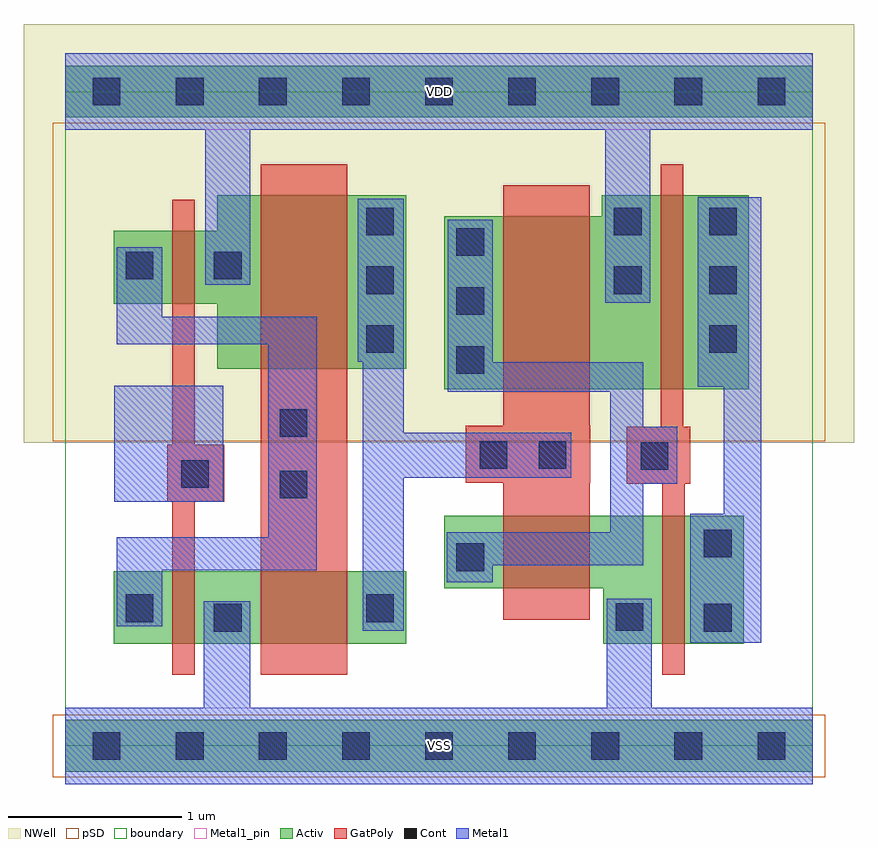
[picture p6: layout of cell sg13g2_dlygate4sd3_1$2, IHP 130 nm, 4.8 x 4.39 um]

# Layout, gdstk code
import gdstk
lib = gdstk.Library(unit=1e-6, precision=5e-09)
def R(c, l, rs):  # rectangles x0, y0, x1, y1
    for r in rs: c.add(gdstk.rectangle(r[:2], r[2:], *l))
def A(c, l, x, y, w, h, nx, ny, dx, dy):  # array of equal rectangles
    R(c, l, [(x+i*dx, y+j*dy, x+i*dx+w, y+j*dy+h) for i in range(nx) for j in range(ny)])
def P(c, l, *ps):  # polygons
    for p in ps: c.add(gdstk.Polygon(p, *l))
Activ = (1, 0)
GatPoly = (5, 0)
Cont = (6, 0)
Metal1 = (8, 0)
Metal1_pin = (8, 2)
pSD = (14, 0)
NWell = (31, 0)
boundary = (189, 4)

sg13g2_dlygate4sd3_1_2 = lib.new_cell('sg13g2_dlygate4sd3_1$2')
R(sg13g2_dlygate4sd3_1_2, Activ, [(-8.365,163.58,-4.045,163.88), (-8.085,164.32,-6.395,164.74), (-8.365,167.36,-4.045,167.66)])
P(sg13g2_dlygate4sd3_1_2, Activ, [(-6.175,165.79),(-6.175,166.79),(-5.265,166.79),(-5.265,166.91),(-4.415,166.91),(-4.415,165.79)],
  [(-5.255,164.32),(-5.255,164.64),(-6.175,164.64),(-6.175,165.06),(-4.445,165.06),(-4.445,164.32)],
  [(-7.485,165.91),(-7.485,166.285),(-8.085,166.285),(-8.085,166.705),(-7.485,166.705),(-7.485,166.91),(-6.395,166.91),(-6.395,165.91)])
R(sg13g2_dlygate4sd3_1_2, GatPoly, [(-7.235,164.14,-6.735,167.09)])
P(sg13g2_dlygate4sd3_1_2, GatPoly, [(-7.745,164.14),(-7.745,165.14),(-7.775,165.14),(-7.775,165.47),(-7.745,165.47),(-7.745,166.885),(-7.615,166.885),(-7.615,165.47),(-7.445,165.47),(-7.445,165.14),(-7.615,165.14),(-7.615,164.14)],
  [(-4.915,164.14),(-4.915,165.245),(-5.12,165.245),(-5.12,165.575),(-4.925,165.575),(-4.925,167.09),(-4.795,167.09),(-4.795,165.575),(-4.755,165.575),(-4.755,165.245),(-4.785,165.245),(-4.785,164.14)],
  [(-5.835,164.46),(-5.835,165.25),(-6.05,165.25),(-6.05,165.58),(-5.835,165.58),(-5.835,166.97),(-5.335,166.97),(-5.335,165.58),(-5.33,165.58),(-5.33,165.25),(-5.335,165.25),(-5.335,164.46)])
A(sg13g2_dlygate4sd3_1_2, Cont, -6.105, 165.88, 0.16, 0.16, 1, 3, 0, 0.34)
A(sg13g2_dlygate4sd3_1_2, Cont, -6.625, 166, 0.16, 0.16, 1, 3, 0, 0.34)
A(sg13g2_dlygate4sd3_1_2, Cont, -4.645, 166, 0.16, 0.16, 1, 3, 0, 0.34)
R(sg13g2_dlygate4sd3_1_2, Cont, [(-8.205,163.65,-8.045,163.81), (-8.205,163.65,-8.045,163.81), (-7.725,163.65,-7.565,163.81), (-7.725,163.65,-7.565,163.81), (-7.245,163.65,-7.085,163.81), (-7.245,163.65,-7.085,163.81), (-6.765,163.65,-6.605,163.81), (-6.765,163.65,-6.605,163.81), (-6.285,163.65,-6.125,163.81), (-6.285,163.65,-6.125,163.81), (-5.805,163.65,-5.645,163.81), (-5.805,163.65,-5.645,163.81), (-5.325,163.65,-5.165,163.81), (-5.325,163.65,-5.165,163.81), (-4.845,163.65,-4.685,163.81), (-4.845,163.65,-4.685,163.81), (-4.365,163.65,-4.205,163.81), (-4.365,163.65,-4.205,163.81), (-7.505,164.39,-7.345,164.55), (-4.675,164.39,-4.515,164.55), (-5.185,164.395,-5.025,164.555), (-8.015,164.445,-7.855,164.605), (-6.625,164.445,-6.465,164.605), (-6.105,164.74,-5.945,164.9), (-4.675,164.82,-4.515,164.98), (-7.125,165.16,-6.965,165.32), (-7.695,165.22,-7.535,165.38), (-5.04,165.325,-4.88,165.485), (-5.97,165.33,-5.81,165.49), (-5.63,165.33,-5.47,165.49), (-7.125,165.515,-6.965,165.675), (-5.195,166.34,-5.035,166.5), (-8.015,166.425,-7.855,166.585), (-7.505,166.425,-7.345,166.585), (-5.195,166.68,-5.035,166.84), (-8.205,167.43,-8.045,167.59), (-8.205,167.43,-8.045,167.59), (-7.725,167.43,-7.565,167.59), (-7.725,167.43,-7.565,167.59), (-7.245,167.43,-7.085,167.59), (-7.245,167.43,-7.085,167.59), (-6.765,167.43,-6.605,167.59), (-6.765,167.43,-6.605,167.59), (-6.285,167.43,-6.125,167.59), (-6.285,167.43,-6.125,167.59), (-5.805,167.43,-5.645,167.59), (-5.805,167.43,-5.645,167.59), (-5.325,167.43,-5.165,167.59), (-5.325,167.43,-5.165,167.59), (-4.845,167.43,-4.685,167.59), (-4.845,167.43,-4.685,167.59), (-4.365,167.43,-4.205,167.59), (-4.365,167.43,-4.205,167.59)])
R(sg13g2_dlygate4sd3_1_2, Metal1, [(-8.08,165.14,-7.45,165.81)])
P(sg13g2_dlygate4sd3_1_2, Metal1, [(-4.755,164.325),(-4.755,165.07),(-4.56,165.07),(-4.56,165.805),(-4.71,165.805),(-4.71,166.9),(-4.345,166.9),(-4.345,164.325)],
  [(-8.365,163.51),(-8.365,163.95),(-7.565,163.95),(-7.565,164.565),(-7.295,164.565),(-7.295,163.95),(-5.235,163.95),(-5.235,164.58),(-4.975,164.58),(-4.975,163.95),(-4.045,163.95),(-4.045,163.51)],
  [(-5.245,166.29),(-5.245,167.29),(-7.295,167.29),(-7.295,166.395),(-7.555,166.395),(-7.555,167.29),(-8.365,167.29),(-8.365,167.73),(-4.045,167.73),(-4.045,167.29),(-4.985,167.29),(-4.985,166.29)],
  [(-6.16,164.675),(-6.16,164.965),(-5.215,164.965),(-5.215,165.775),(-6.155,165.775),(-6.155,166.77),(-5.895,166.77),(-5.895,165.945),(-5.025,165.945),(-5.025,165.575),(-4.83,165.575),(-4.83,165.245),(-5.025,165.245),(-5.025,164.775),(-5.895,164.775),(-5.895,164.675)],
  [(-6.645,164.395),(-6.645,165.95),(-6.675,165.95),(-6.675,166.89),(-6.41,166.89),(-6.41,165.54),(-5.44,165.54),(-5.44,165.28),(-6.41,165.28),(-6.41,164.395)],
  [(-8.065,164.42),(-8.065,164.935),(-7.19,164.935),(-7.19,166.05),(-8.065,166.05),(-8.065,166.61),(-7.805,166.61),(-7.805,166.21),(-6.91,166.21),(-6.91,164.745),(-7.805,164.745),(-7.805,164.42)])
R(sg13g2_dlygate4sd3_1_2, Metal1_pin, [(-8.365,163.51,-4.045,163.95), (-8.365,167.29,-4.045,167.73)])
R(sg13g2_dlygate4sd3_1_2, pSD, [(-8.435,163.55,-3.975,163.91), (-8.435,165.49,-3.975,167.33)])
R(sg13g2_dlygate4sd3_1_2, NWell, [(-8.605,165.48,-3.805,167.9)])
R(sg13g2_dlygate4sd3_1_2, boundary, [(-8.365,163.73,-4.045,167.51)])
sg13g2_dlygate4sd3_1_2.add(gdstk.Label('VDD', (-6.205,167.51), layer=8, texttype=25))
sg13g2_dlygate4sd3_1_2.add(gdstk.Label('VSS', (-6.205,163.73), layer=8, texttype=25))

lib.write_gds('sg13g2_dlygate4sd3_1_2.gds')
